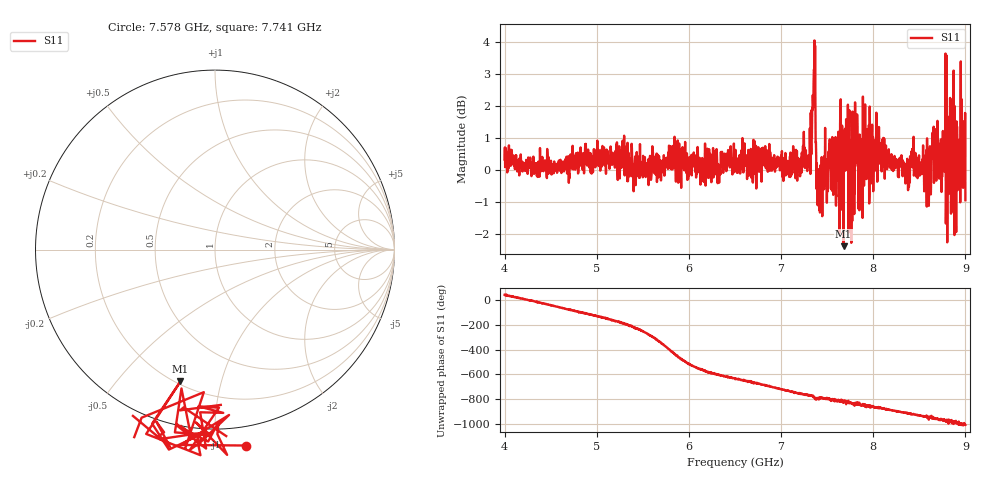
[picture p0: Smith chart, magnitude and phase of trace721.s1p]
! Created with skrf 1.8.0 (http://scikit-rf.org).
# Hz S RI R 50.0
!freq ReS11 ImS11
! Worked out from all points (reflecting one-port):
!   1601 points, 4 GHz to 9 GHz, reference 50 ohm
!   lowest |S11| = -2.4 dB at 7.678 GHz (marker M1), VSWR 7.30, Z = 10.8 - j37.5 ohm
!   phase of S11 starts at 45 deg and turns -1056 deg over the sweep
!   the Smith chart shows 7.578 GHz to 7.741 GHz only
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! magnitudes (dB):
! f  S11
! 4 GHz  0.3
! 4.625 GHz  0.1
! 5.25 GHz  -0.3
! 5.875 GHz  -0.1
! 6.5 GHz  0.1
! 7.125 GHz  0.4
! 7.294 GHz  0.1
! 7.347 GHz  2.1
! 7.369 GHz  3.9
! 7.409 GHz  -0.9
! 7.538 GHz  0.5
! 7.609 GHz  0.0
! 7.625 GHz  -0.3
! 7.678 GHz  -2.4
! 7.716 GHz  0.1
! 7.75 GHz  0.9
! 7.769 GHz  -0.9
! 7.822 GHz  0.2
! 7.859 GHz  0.7
! 8.05 GHz  1.0
! 8.375 GHz  0.0
! 8.434 GHz  0.1
! 8.603 GHz  -1.1
! 8.656 GHz  1.3
! 8.775 GHz  0.9
! 8.919 GHz  -0.3
! 8.972 GHz  0.4
! 9 GHz  -1.0
